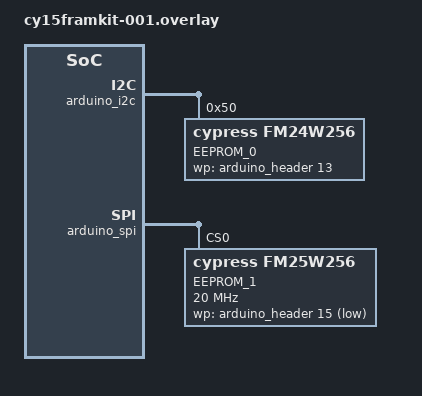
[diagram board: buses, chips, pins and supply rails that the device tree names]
/*
 * Copyright (c) 2021 Caspar Friedrich, <c.s.w.friedrich@gmail.com>
 *
 * SPDX-License-Identifier: Apache-2.0
 */

/ {
	aliases {
		/*
		 * These aliases maintain compatibility with the eeprom examples
		 */
		eeprom-0 = &eeprom_0;
		eeprom-1 = &eeprom_1;
	};
};

&arduino_i2c {
	eeprom_0: eeprom@50 {
		compatible = "cypress,fm24w256";
		reg = <0x50>; /* All Device Select Address pins low*/
		label = "EEPROM_0";
		wp-gpios = <&arduino_header 13 GPIO_ACTIVE_HIGH>; /* D7 */
	};
};

&arduino_spi {
	eeprom_1: eeprom@0 {
		compatible = "cypress,fm25w256";
		reg = <0x0>;
		spi-max-frequency = <20000000>;
		label = "EEPROM_1";
		wp-gpios = <&arduino_header 15 GPIO_ACTIVE_LOW>; /* D9 */
		spi-mode = <0>;
	};
};
